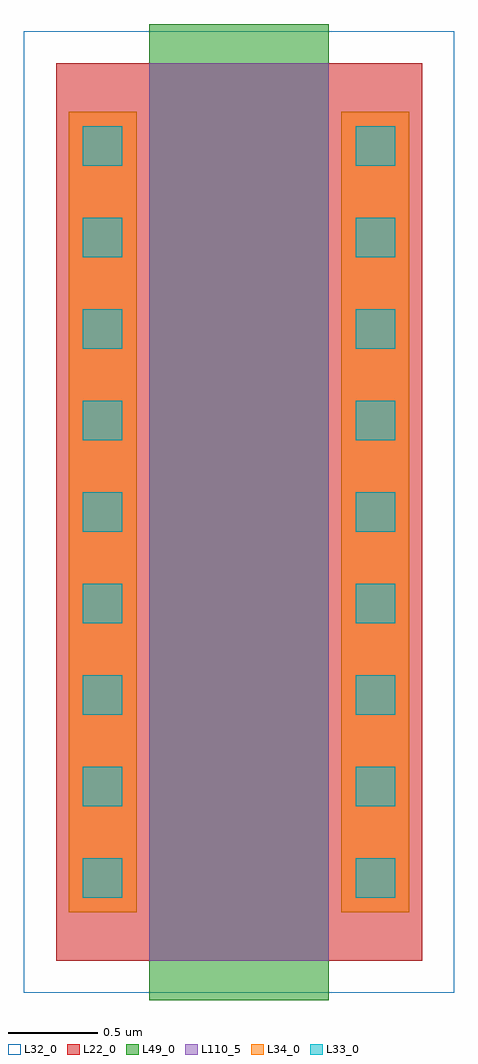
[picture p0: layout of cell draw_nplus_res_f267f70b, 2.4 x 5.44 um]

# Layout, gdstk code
import gdstk
lib = gdstk.Library(unit=1e-6, precision=1e-09)
def R(c, l, rs):  # rectangles x0, y0, x1, y1
    for r in rs: c.add(gdstk.rectangle(r[:2], r[2:], *l))
def A(c, l, x, y, w, h, nx, ny, dx, dy):  # array of equal rectangles
    R(c, l, [(x+i*dx, y+j*dy, x+i*dx+w, y+j*dy+h) for i in range(nx) for j in range(ny)])
L22_0 = (22, 0)
L32_0 = (32, 0)
L33_0 = (33, 0)
L34_0 = (34, 0)
L49_0 = (49, 0)
L110_5 = (110, 5)

draw_nplus_res_f267f70b = lib.new_cell('draw_nplus_res_f267f70b')
R(draw_nplus_res_f267f70b, L22_0, [(-0.52,0,1.52,5)])
R(draw_nplus_res_f267f70b, L32_0, [(-0.7,-0.18,1.7,5.18)])
A(draw_nplus_res_f267f70b, L33_0, -0.37, 0.35, 0.22, 0.22, 1, 9, 0, 0.51)
A(draw_nplus_res_f267f70b, L33_0, 1.15, 0.35, 0.22, 0.22, 1, 9, 0, 0.51)
R(draw_nplus_res_f267f70b, L34_0, [(-0.45,0.27,-0.07,4.73), (1.07,0.27,1.45,4.73)])
R(draw_nplus_res_f267f70b, L49_0, [(0,-0.22,1,5.22)])
R(draw_nplus_res_f267f70b, L110_5, [(0,0,1,5)])

lib.write_gds('draw_nplus_res_f267f70b.gds')
